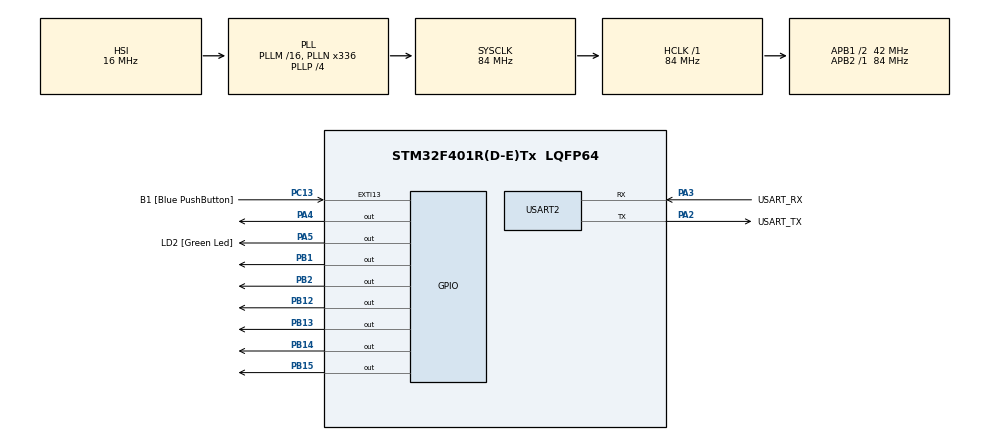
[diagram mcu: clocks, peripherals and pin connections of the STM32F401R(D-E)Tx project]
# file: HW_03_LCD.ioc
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Mcu.Family=STM32F4
Mcu.Name=STM32F401R(D-E)Tx
Mcu.Package=LQFP64
NVIC.PriorityGroup=NVIC_PRIORITYGROUP_0
NVIC.TIM2_IRQn=true\:0\:0\:false\:false\:true\:true\:true\:true
PA13.GPIO_Label=TMS
PA13.Mode=Serial_Wire
PA13.Signal=SYS_JTMS-SWDIO
PA14.GPIO_Label=TCK
PA14.Mode=Serial_Wire
PA14.Signal=SYS_JTCK-SWCLK
PA2.GPIO_Label=USART_TX
PA2.GPIO_Mode=GPIO_MODE_AF_PP
PA2.GPIO_PuPd=GPIO_NOPULL
PA2.GPIO_Speed=GPIO_SPEED_FREQ_LOW
PA2.Mode=Asynchronous
PA2.Signal=USART2_TX
PA3.GPIO_Label=USART_RX
PA3.GPIO_Mode=GPIO_MODE_AF_PP
PA3.GPIO_PuPd=GPIO_NOPULL
PA3.GPIO_Speed=GPIO_SPEED_FREQ_LOW
PA3.Mode=Asynchronous
PA3.Signal=USART2_RX
PA4.Signal=GPIO_Output
PA5.GPIO_Label=LD2 [Green Led]
PA5.GPIO_Mode=GPIO_MODE_OUTPUT_PP
PA5.GPIO_PuPd=GPIO_NOPULL
PA5.GPIO_Speed=GPIO_SPEED_FREQ_LOW
PA5.Signal=GPIO_Output
PB1.Signal=GPIO_Output
PB12.Signal=GPIO_Output
PB13.Signal=GPIO_Output
PB14.Signal=GPIO_Output
PB15.Signal=GPIO_Output
PB2.Signal=GPIO_Output
PB3.GPIO_Label=SWO
PB3.Signal=SYS_JTDO-SWO
PC13-ANTI_TAMP.GPIO_Label=B1 [Blue PushButton]
PC13-ANTI_TAMP.GPIO_ModeDefaultEXTI=GPIO_MODE_IT_FALLING
PC13-ANTI_TAMP.GPIO_PuPd=GPIO_NOPULL
PC13-ANTI_TAMP.Signal=GPXTI13
PC14-OSC32_IN.Mode=LSE-External-Oscillator
PC14-OSC32_IN.Signal=RCC_OSC32_IN
PC15-OSC32_OUT.Mode=LSE-External-Oscillator
PC15-OSC32_OUT.Signal=RCC_OSC32_OUT
PH0\ -\ OSC_IN.Mode=HSE-External-Clock-Source
PH0\ -\ OSC_IN.Signal=RCC_OSC_IN
PH1\ -\ OSC_OUT.Mode=HSE-External-Clock-Source
PH1\ -\ OSC_OUT.Signal=RCC_OSC_OUT
ProjectManager.HeapSize=0x200
ProjectManager.StackSize=0x400
ProjectManager.TargetToolchain=STM32CubeIDE
RCC.48MHZClocksFreq_Value=48000000
RCC.AHBFreq_Value=84000000
RCC.APB1CLKDivider=RCC_HCLK_DIV2
RCC.APB1Freq_Value=42000000
RCC.APB1TimFreq_Value=84000000
RCC.APB2Freq_Value=84000000
RCC.APB2TimFreq_Value=84000000
RCC.CortexFreq_Value=84000000
RCC.HCLKFreq_Value=84000000
RCC.HSE_VALUE=8000000
RCC.HSI_VALUE=16000000
RCC.PLLN=336
RCC.PLLP=RCC_PLLP_DIV4
RCC.PLLQ=7
RCC.SYSCLKFreq_VALUE=84000000
RCC.SYSCLKSource=RCC_SYSCLKSOURCE_PLLCLK
RCC.VCOOutputFreq_Value=336000000
TIM2.Period=84000-1
TIM2.Prescaler=1000-1
USART2.VirtualMode=VM_ASYNC
VP_TIM2_VS_ClockSourceINT.Mode=Internal
board=NUCLEO-F401RE

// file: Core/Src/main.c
/* USER CODE BEGIN Header */
/**
 ******************************************************************************
 * @file           : main.c
 * @brief          : Main program body
 ******************************************************************************
 * @attention
 *
 * Copyright (c) 2022 STMicroelectronics.
 * All rights reserved.
 *
 * This software is licensed under terms that can be found in the LICENSE file
 * in the root directory of this software component.
 * If no LICENSE file comes with this software, it is provided AS-IS.
 *
 ******************************************************************************
 */
/* USER CODE END Header */
#include "main.h"

/* USER CODE BEGIN Includes */
#include "PMDB16_LCD.h"
/* USER CODE END Includes */

TIM_HandleTypeDef htim2;

UART_HandleTypeDef huart2;

void SystemClock_Config(void);
static void MX_GPIO_Init(void);
static void MX_USART2_UART_Init(void);
static void MX_TIM2_Init(void);

/* USER CODE BEGIN 0 */
void spinwait(int timer);
void printJoJo(int row);
void printEmoji(int row);

int flag_timer = 0;

void HAL_TIM_PeriodElapsedCallback(TIM_HandleTypeDef *htim) {
	if (htim == &htim2) {
		//signals that the timer callback has been executed
		flag_timer = !flag_timer;
	}
}

void spinwait(int timer) {
	while (flag_timer == timer) {
		// spin wait until timer callback gets executed (after 1 second)
	}
}

// prints 2 characters at 0 and 1 rows
// characters definition inside file for LCD handling
void printJoJo(int row) {
	for (int i = 0; i < 16; i += 2) {
		lcd_set_cursor(row, i);
		lcd_data(0x01);
		lcd_set_cursor(row, i + 1);
		lcd_data(0x02);
	}
}

void printEmoji(int row) {
	for (int i = 0; i < 16; i += 2) {
		lcd_set_cursor(row, i);
		lcd_data(0x03);
		lcd_set_cursor(row, i + 1);
		lcd_data(0x04);
	}
}

/* USER CODE END 0 */

int main(void) {

	/* MCU Configuration--------------------------------------------------------*/

	/* Reset of all peripherals, Initializes the Flash interface and the Systick. */
	HAL_Init();

	/* Configure the system clock */
	SystemClock_Config();

	/* Initialize all configured peripherals */
	MX_GPIO_Init();
	MX_USART2_UART_Init();
	MX_TIM2_Init();
	/* USER CODE BEGIN 2 */
	lcd_initialize();
	lcd_backlight_ON();
	HAL_TIM_Base_Start_IT(&htim2);

	char *names[5] = { "Claudio", "Giacomo", "Johanna", "LucaFrancesco", "Simone" };

	/* USER CODE END 2 */

	/* Infinite loop */
	/* USER CODE BEGIN WHILE */

	// prints sequence of names, JOJO characters and emojis
	lcd_println(names[0], 1);
	while (1) {
		for (int i = 0; i < 4; i++) {
			//HAL_Delay(1000);
			spinwait(flag_timer);
			lcd_clear();
			lcd_println(names[i], 0);
			lcd_println(names[i + 1], 1);
		}

		//HAL_Delay(1000);
		spinwait(flag_timer);
		lcd_clear();
		lcd_println(names[4], 0);
		printJoJo(1);
		//HAL_Delay(1000);
		spinwait(flag_timer);
		lcd_clear();
		printJoJo(0);
		printEmoji(1);
		//HAL_Delay(1000);
		spinwait(flag_timer);
		lcd_clear();
		printEmoji(0);
		lcd_println(names[0], 1);

		/* USER CODE END WHILE */

	}
}

void SystemClock_Config(void) {
	RCC_OscInitTypeDef RCC_OscInitStruct = { 0 };
	RCC_ClkInitTypeDef RCC_ClkInitStruct = { 0 };

	/** Configure the main internal regulator output voltage
	 */
	__HAL_RCC_PWR_CLK_ENABLE();
	__HAL_PWR_VOLTAGESCALING_CONFIG(PWR_REGULATOR_VOLTAGE_SCALE2);

	/** Initializes the RCC Oscillators according to the specified parameters
	 * in the RCC_OscInitTypeDef structure.
	 */
	RCC_OscInitStruct.OscillatorType = RCC_OSCILLATORTYPE_HSI;
	RCC_OscInitStruct.HSIState = RCC_HSI_ON;
	RCC_OscInitStruct.HSICalibrationValue = RCC_HSICALIBRATION_DEFAULT;
	RCC_OscInitStruct.PLL.PLLState = RCC_PLL_ON;
	RCC_OscInitStruct.PLL.PLLSource = RCC_PLLSOURCE_HSI;
	RCC_OscInitStruct.PLL.PLLM = 16;
	RCC_OscInitStruct.PLL.PLLN = 336;
	RCC_OscInitStruct.PLL.PLLP = RCC_PLLP_DIV4;
	RCC_OscInitStruct.PLL.PLLQ = 7;
	if (HAL_RCC_OscConfig(&RCC_OscInitStruct) != HAL_OK) {
		Error_Handler();
	}

	/** Initializes the CPU, AHB and APB buses clocks
	 */
	RCC_ClkInitStruct.ClockType = RCC_CLOCKTYPE_HCLK | RCC_CLOCKTYPE_SYSCLK | RCC_CLOCKTYPE_PCLK1 | RCC_CLOCKTYPE_PCLK2;
	RCC_ClkInitStruct.SYSCLKSource = RCC_SYSCLKSOURCE_PLLCLK;
	RCC_ClkInitStruct.AHBCLKDivider = RCC_SYSCLK_DIV1;
	RCC_ClkInitStruct.APB1CLKDivider = RCC_HCLK_DIV2;
	RCC_ClkInitStruct.APB2CLKDivider = RCC_HCLK_DIV1;

	if (HAL_RCC_ClockConfig(&RCC_ClkInitStruct, FLASH_LATENCY_2) != HAL_OK) {
		Error_Handler();
	}
}

static void MX_TIM2_Init(void) {

	TIM_ClockConfigTypeDef sClockSourceConfig = { 0 };
	TIM_MasterConfigTypeDef sMasterConfig = { 0 };

	htim2.Instance = TIM2;
	htim2.Init.Prescaler = 1000 - 1;
	htim2.Init.CounterMode = TIM_COUNTERMODE_UP;
	htim2.Init.Period = 84000 - 1;
	htim2.Init.ClockDivision = TIM_CLOCKDIVISION_DIV1;
	htim2.Init.AutoReloadPreload = TIM_AUTORELOAD_PRELOAD_DISABLE;
	if (HAL_TIM_Base_Init(&htim2) != HAL_OK) {
		Error_Handler();
	}
	sClockSourceConfig.ClockSource = TIM_CLOCKSOURCE_INTERNAL;
	if (HAL_TIM_ConfigClockSource(&htim2, &sClockSourceConfig) != HAL_OK) {
		Error_Handler();
	}
	sMasterConfig.MasterOutputTrigger = TIM_TRGO_RESET;
	sMasterConfig.MasterSlaveMode = TIM_MASTERSLAVEMODE_DISABLE;
	if (HAL_TIMEx_MasterConfigSynchronization(&htim2, &sMasterConfig) != HAL_OK) {
		Error_Handler();
	}

}

static void MX_USART2_UART_Init(void) {

	huart2.Instance = USART2;
	huart2.Init.BaudRate = 115200;
	huart2.Init.WordLength = UART_WORDLENGTH_8B;
	huart2.Init.StopBits = UART_STOPBITS_1;
	huart2.Init.Parity = UART_PARITY_NONE;
	huart2.Init.Mode = UART_MODE_TX_RX;
	huart2.Init.HwFlowCtl = UART_HWCONTROL_NONE;
	huart2.Init.OverSampling = UART_OVERSAMPLING_16;
	if (HAL_UART_Init(&huart2) != HAL_OK) {
		Error_Handler();
	}

}

static void MX_GPIO_Init(void) {
	GPIO_InitTypeDef GPIO_InitStruct = { 0 };

	/* GPIO Ports Clock Enable */
	__HAL_RCC_GPIOC_CLK_ENABLE();
	__HAL_RCC_GPIOH_CLK_ENABLE();
	__HAL_RCC_GPIOA_CLK_ENABLE();
	__HAL_RCC_GPIOB_CLK_ENABLE();

	/*Configure GPIO pin Output Level */
	HAL_GPIO_WritePin(GPIOA, GPIO_PIN_4 | LD2_Pin, GPIO_PIN_RESET);

	/*Configure GPIO pin Output Level */
	HAL_GPIO_WritePin(GPIOB, GPIO_PIN_1 | GPIO_PIN_2 | GPIO_PIN_12 | GPIO_PIN_13 | GPIO_PIN_14 | GPIO_PIN_15, GPIO_PIN_RESET);

	/*Configure GPIO pin : B1_Pin */
	GPIO_InitStruct.Pin = B1_Pin;
	GPIO_InitStruct.Mode = GPIO_MODE_IT_FALLING;
	GPIO_InitStruct.Pull = GPIO_NOPULL;
	HAL_GPIO_Init(B1_GPIO_Port, &GPIO_InitStruct);

	/*Configure GPIO pins : PA4 LD2_Pin */
	GPIO_InitStruct.Pin = GPIO_PIN_4 | LD2_Pin;
	GPIO_InitStruct.Mode = GPIO_MODE_OUTPUT_PP;
	GPIO_InitStruct.Pull = GPIO_NOPULL;
	GPIO_InitStruct.Speed = GPIO_SPEED_FREQ_LOW;
	HAL_GPIO_Init(GPIOA, &GPIO_InitStruct);

	/*Configure GPIO pins : PB1 PB2 PB12 PB13
	 PB14 PB15 */
	GPIO_InitStruct.Pin = GPIO_PIN_1 | GPIO_PIN_2 | GPIO_PIN_12 | GPIO_PIN_13 | GPIO_PIN_14 | GPIO_PIN_15;
	GPIO_InitStruct.Mode = GPIO_MODE_OUTPUT_PP;
	GPIO_InitStruct.Pull = GPIO_NOPULL;
	GPIO_InitStruct.Speed = GPIO_SPEED_FREQ_LOW;
	HAL_GPIO_Init(GPIOB, &GPIO_InitStruct);

}

void Error_Handler(void) {
	__disable_irq();
	while (1) {
	}
}
